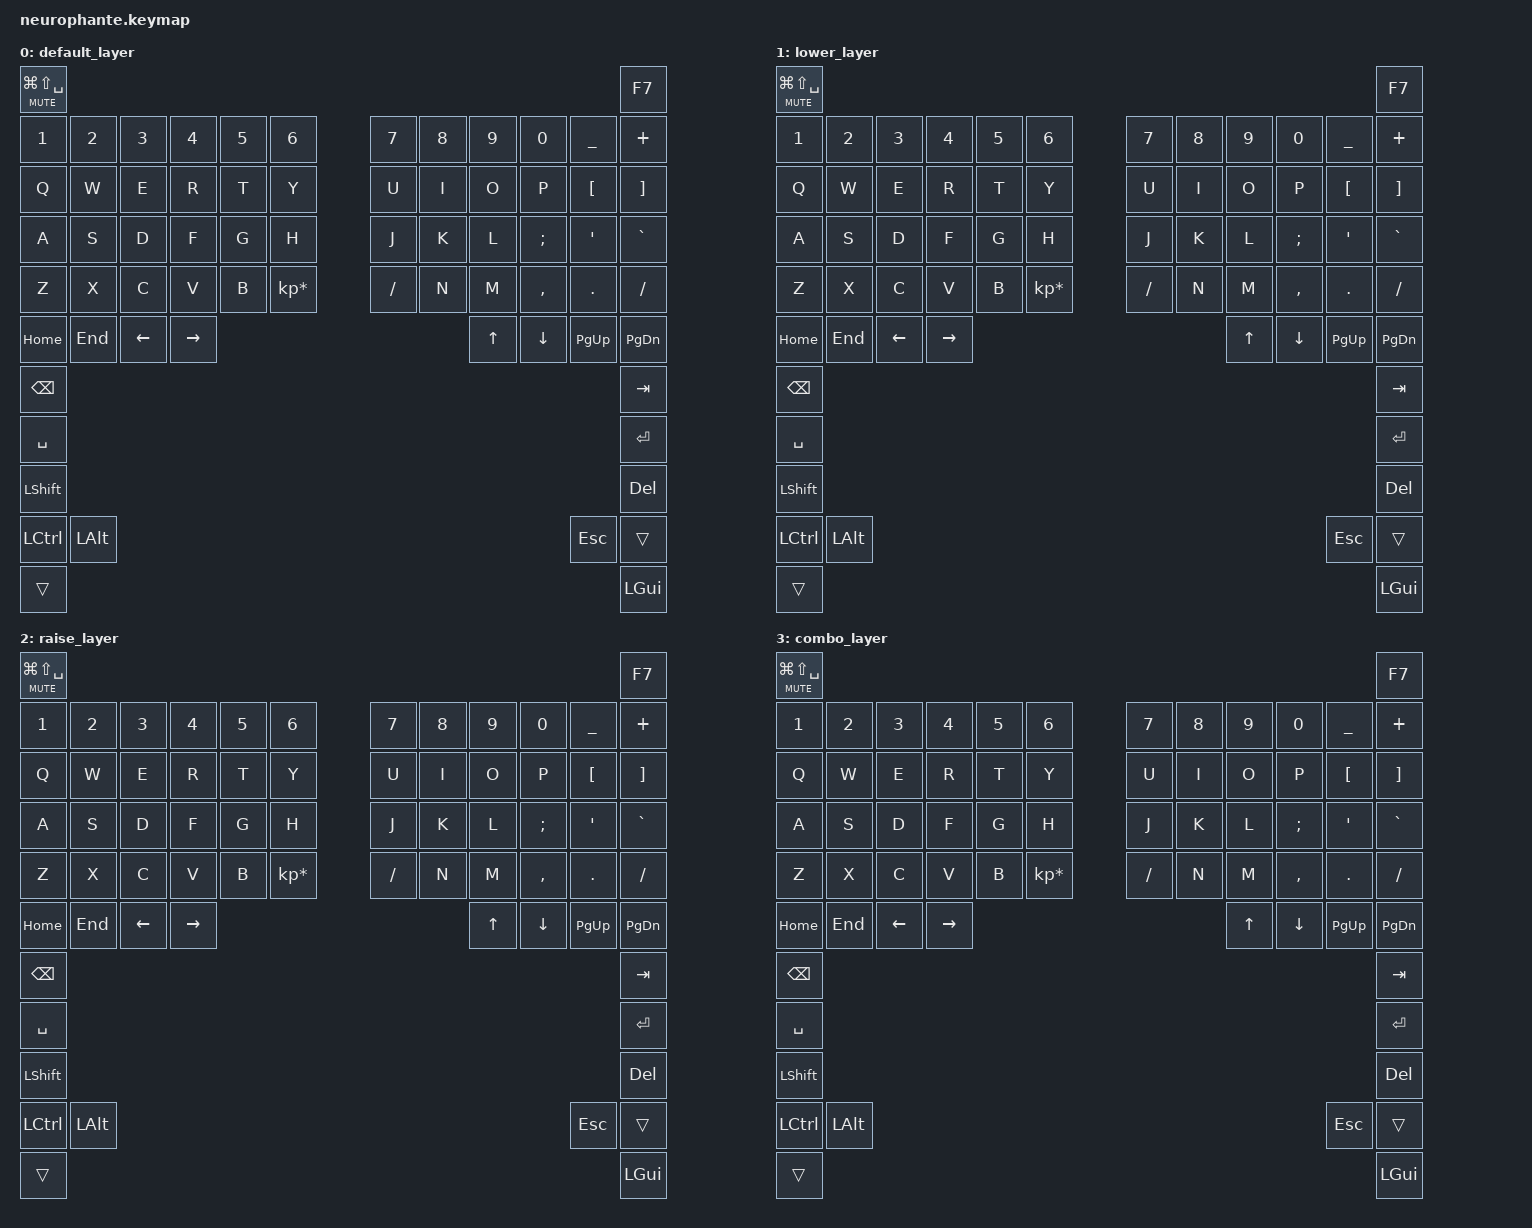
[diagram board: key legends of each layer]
/*
 * Copyright (c) 2020 The ZMK Contributors
 *
 * SPDX-License-Identifier: MIT
 */

#include <behaviors.dtsi>
#include <dt-bindings/zmk/keys.h>
#include <dt-bindings/zmk/bt.h>
#include <dt-bindings/zmk/outputs.h>

#define COMBO_TIMEOUT 60

#define DEFAULT 0
#define LOWER   1
#define RAISE   2
#define COMBO   3

/ {
    macros {
	hello: hello {
            label = "hello";
            compatible = "zmk,behavior-macro";
            #binding-cells = <0>;
            bindings
                = <&macro_tap_time 10>
		,<&macro_tap &kp H &kp E &kp L &kp L &kp O>
                ;
        };
    };
};


/ {
    combos {
        compatible = "zmk,combos";
 	 combo_del {
            timeout-ms = <COMBO_TIMEOUT>;
            key-positions = <11 12 13>;
            bindings = <&mt RALT DEL>;
        };
	 combo_cw {
            timeout-ms = <COMBO_TIMEOUT>;
            key-positions = <2 3 4>;
            bindings = <&caps_word>;
        };
	 combo_tab {
            timeout-ms = <COMBO_TIMEOUT>;
            key-positions = <10 11 12>;
            bindings = <&mt K_CONTEXT_MENU TAB>;
        };
	 combo_row {
            timeout-ms = <COMBO_TIMEOUT>;
            key-positions = <12 13 14>;
            bindings = <&kp LS(HOME)>;
        };
	 combo_esc {
            timeout-ms = <COMBO_TIMEOUT>;
            key-positions = <0 1 2>;
            bindings = <&kp ESC>;
	 };
	 combo_ctlbksp {
            timeout-ms = <COMBO_TIMEOUT>;
            key-positions = <6 7 8>;
            bindings = <&kp LC(BSPC)>;
        };
	 combo_bksp {
            timeout-ms = <COMBO_TIMEOUT>;
            key-positions = <16 17 18>;
            bindings = <&kp BSPC>;
        };
    };
};

&caps_word {
	continue-list = <UNDERSCORE MINUS BACKSPACE DELETE HOME END LEFT RIGHT>;
};

&kscan0 {
	debounce-period = <20>;
	};

/ {
	behaviors {

        bh: layer_taps 
		{
			compatible = "zmk,behavior-hold-tap";
			label = "Layer-Tap";
			#binding-cells = <2>;
			tapping_term_ms = <215>;
            flavor = "tap-preferred";
			bindings = <&mo>, <&kp>;
        };

        hm: homerow_mods {
            compatible = "zmk,behavior-hold-tap";
            label = "HOMEROW_MODS";
            #binding-cells = <2>;
            tapping-term-ms = <170>;
            quick_tap_ms = <0>;
            flavor = "tap-preferred";
            bindings = <&kp>, <&kp>;
        };
		sm: shift_mods {
            compatible = "zmk,behavior-hold-tap";
            label = "SHIFT_MODS";
            #binding-cells = <2>;
            tapping-term-ms = <170>;
            quick_tap_ms = <0>;
            flavor = "hold-preferred";
            bindings = <&kp>, <&kp>;
        };
     };
   };

/ {
        keymap {
                compatible = "zmk,keymap";

                default_layer {
                        bindings = <
						
				&mt K_MUTE LG(LS(SPACE))				&kp F7
&kp N1  	&kp N2	&kp N3	&kp N4	&kp N5	&kp N6   		&kp N7	&kp N8	&kp N9	&kp N0 	 &kp UNDER	&kp PLUS
&kp Q		&kp W	&kp E	&kp R	&kp T   &kp Y			&kp U	&kp I	&kp O 	&kp P	 &kp LBKT	&kp RBKT
&kp A 		&kp S 	&kp D 	&kp F 	&kp G   &kp H 			&kp J  	&kp K 	&kp L   &kp SEMI &kp SQT 	&kp GRAVE
&kp Z 		&kp X 	&kp C 	&kp V 	&kp B   &kp KP_MULTIPLY		&kp FSLH &kp N  &kp M  	&kp COMMA &kp DOT   &kp FSLH
&kp HOME  	&kp END	&kp LEFT &kp RIGHT						&kp UP  &kp DOWN  &kp PG_UP &kp PG_DN
                                                &kp BSPC		&kp TAB 
						&kp SPACE		&kp RET
						&kp LSHFT		&kp DEL
				&kp LCTRL 	&kp LALT		&kp ESC 	&trans
				&trans							&kp LGUI
                        >;

                };
                lower_layer {

                        bindings = <
				&mt K_MUTE LG(LS(SPACE))				&kp F7
&kp N1  	&kp N2	&kp N3	&kp N4	&kp N5	&kp N6   		&kp N7	&kp N8	&kp N9	&kp N0 	 &kp UNDER	&kp PLUS
&kp Q		&kp W	&kp E	&kp R	&kp T   &kp Y			&kp U	&kp I	&kp O 	&kp P	 &kp LBKT	&kp RBKT
&kp A 		&kp S 	&kp D 	&kp F 	&kp G   &kp H 			&kp J  	&kp K 	&kp L   &kp SEMI &kp SQT 	&kp GRAVE
&kp Z 		&kp X 	&kp C 	&kp V 	&kp B   &kp KP_MULTIPLY		&kp FSLH &kp N  &kp M  	&kp COMMA &kp DOT   &kp FSLH
&kp HOME  	&kp END	&kp LEFT &kp RIGHT						&kp UP  &kp DOWN  &kp PG_UP &kp PG_DN
                                                &kp BSPC		&kp TAB 
						&kp SPACE		&kp RET
						&kp LSHFT		&kp DEL
				&kp LCTRL 	&kp LALT		&kp ESC 	&trans
				&trans							&kp LGUI
                        >;

                };

                raise_layer {

                        bindings = <
				&mt K_MUTE LG(LS(SPACE))				&kp F7
&kp N1  	&kp N2	&kp N3	&kp N4	&kp N5	&kp N6   		&kp N7	&kp N8	&kp N9	&kp N0 	 &kp UNDER	&kp PLUS
&kp Q		&kp W	&kp E	&kp R	&kp T   &kp Y			&kp U	&kp I	&kp O 	&kp P	 &kp LBKT	&kp RBKT
&kp A 		&kp S 	&kp D 	&kp F 	&kp G   &kp H 			&kp J  	&kp K 	&kp L   &kp SEMI &kp SQT 	&kp GRAVE
&kp Z 		&kp X 	&kp C 	&kp V 	&kp B   &kp KP_MULTIPLY		&kp FSLH &kp N  &kp M  	&kp COMMA &kp DOT   &kp FSLH
&kp HOME  	&kp END	&kp LEFT &kp RIGHT						&kp UP  &kp DOWN  &kp PG_UP &kp PG_DN
                                                &kp BSPC		&kp TAB 
						&kp SPACE		&kp RET
						&kp LSHFT		&kp DEL
				&kp LCTRL 	&kp LALT		&kp ESC 	&trans
				&trans							&kp LGUI
                        >;

		};
		
				combo_layer {

                        bindings = <
				&mt K_MUTE LG(LS(SPACE))				&kp F7
&kp N1  	&kp N2	&kp N3	&kp N4	&kp N5	&kp N6   		&kp N7	&kp N8	&kp N9	&kp N0 	 &kp UNDER	&kp PLUS
&kp Q		&kp W	&kp E	&kp R	&kp T   &kp Y			&kp U	&kp I	&kp O 	&kp P	 &kp LBKT	&kp RBKT
&kp A 		&kp S 	&kp D 	&kp F 	&kp G   &kp H 			&kp J  	&kp K 	&kp L   &kp SEMI &kp SQT 	&kp GRAVE
&kp Z 		&kp X 	&kp C 	&kp V 	&kp B   &kp KP_MULTIPLY		&kp FSLH &kp N  &kp M  	&kp COMMA &kp DOT   &kp FSLH
&kp HOME  	&kp END	&kp LEFT &kp RIGHT						&kp UP  &kp DOWN  &kp PG_UP &kp PG_DN
                                                &kp BSPC		&kp TAB 
						&kp SPACE		&kp RET
						&kp LSHFT		&kp DEL
				&kp LCTRL 	&kp LALT		&kp ESC 	&trans
				&trans							&kp LGUI
                        >;

		};
        };
};
